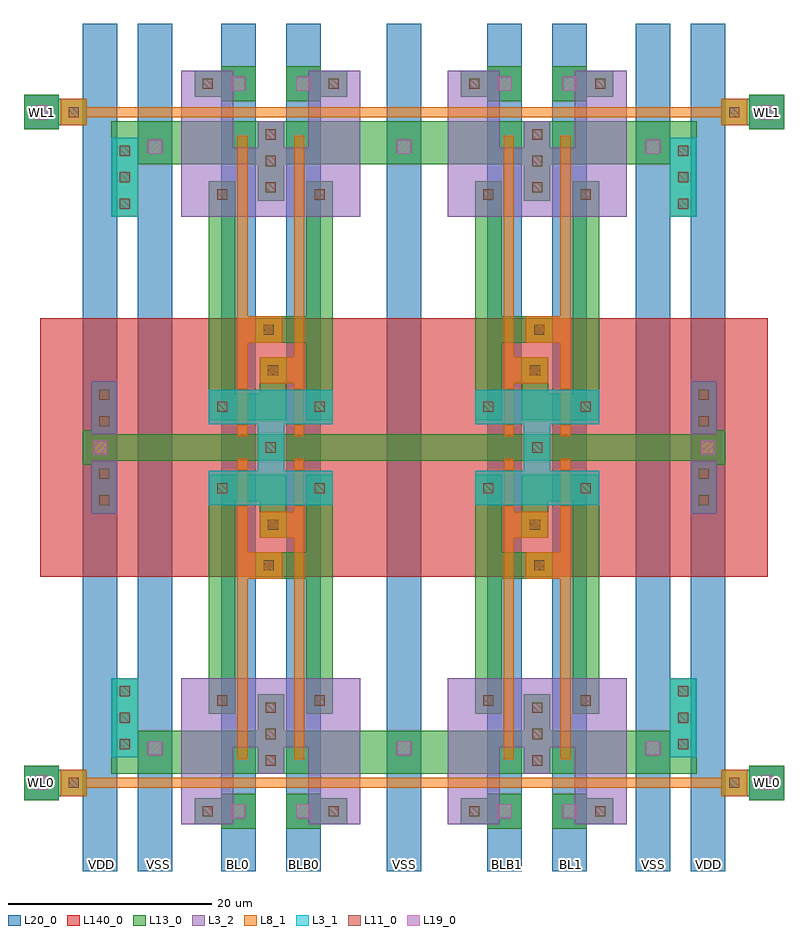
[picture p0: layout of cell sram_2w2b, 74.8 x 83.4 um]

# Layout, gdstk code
from math import pi, radians
import gdstk
lib = gdstk.Library(unit=1e-6, precision=1e-07)
def R(c, l, rs):  # rectangles x0, y0, x1, y1
    for r in rs: c.add(gdstk.rectangle(r[:2], r[2:], *l))
def A(c, l, x, y, w, h, nx, ny, dx, dy):  # array of equal rectangles
    R(c, l, [(x+i*dx, y+j*dy, x+i*dx+w, y+j*dy+h) for i in range(nx) for j in range(ny)])
L3_1 = (3, 1)
L3_2 = (3, 2)
L8_1 = (8, 1)
L11_0 = (11, 0)
L13_0 = (13, 0)
L19_0 = (19, 0)
L20_0 = (20, 0)
L140_0 = (140, 0)

cont_p = lib.new_cell('cont_p')
R(cont_p, L3_1, [(-1.3,-1.3,1.3,1.3)])
R(cont_p, L11_0, [(-0.5,-0.5,0.5,0.5)])
R(cont_p, L13_0, [(-1.3,-1.3,1.3,1.3)])

cont_n = lib.new_cell('cont_n')
R(cont_n, L3_2, [(-1.3,-1.3,1.3,1.3)])
R(cont_n, L11_0, [(-0.5,-0.5,0.5,0.5)])
R(cont_n, L13_0, [(-1.3,-1.3,1.3,1.3)])

cont_g = lib.new_cell('cont_g')
R(cont_g, L8_1, [(-1.3,-1.3,1.3,1.3)])
R(cont_g, L11_0, [(-0.5,-0.5,0.5,0.5)])
R(cont_g, L13_0, [(-1.3,-1.3,1.3,1.3)])

via_1 = lib.new_cell('via_1')
R(via_1, L13_0, [(-1.7,-1.7,1.7,1.7)])
R(via_1, L19_0, [(-0.7,-0.7,0.7,0.7)])
R(via_1, L20_0, [(-1.7,-1.7,1.7,1.7)])

sram6t_tr10 = lib.new_cell('sram6t_tr10')
R(sram6t_tr10, L3_1, [(-405.9,10196.3,-393.7,10199.7), (-401.1,10199.7,-398.5,10200.7)])
R(sram6t_tr10, L3_2, [(-408.6,10164.9,-403.5,10172.5), (-396.1,10164.9,-391,10172.5), (-408.6,10172.5,-391,10179.3)])
R(sram6t_tr10, L8_1, [(-412.9,10168.5,-386.7,10169.5), (-403.1,10171.3,-402.1,10200.9), (-397.5,10171.3,-396.5,10200.9), (-402.1,10189.1,-401.3,10191.7), (-398.3,10193.1,-397.5,10195.7)])
R(sram6t_tr10, L13_0, [(-412.9,10169.9,-386.7,10174.1), (-401.1,10172.5,-398.5,10177.7), (-405.9,10175.8,-403.3,10196.7), (-396.3,10175.8,-393.7,10196.7), (-398.7,10189.1,-396.3,10191.7), (-400.9,10195.6,-398.3,10196.7), (-403.3,10196.7,-398.3,10199.3), (-412.9,10200.7,-386.7,10203.3)])
R(sram6t_tr10, L20_0, [(-412.9,10164.5,-409.5,10202), (-388.4,10164.5,-385,10202), (-404.7,10167.9,-401.3,10202), (-398.3,10167.9,-394.9,10202)])
R(sram6t_tr10, L140_0, [(-412.9,10189.3,-386.7,10210.3)])
r = gdstk.Reference(cont_p, (-399.8,10202)); r.repetition = gdstk.Repetition(1, 1, v1=(0,0), v2=(0,0)); sram6t_tr10.add(r)
r = gdstk.Reference(cont_p, (-395,10198)); r.repetition = gdstk.Repetition(1, 1, v1=(0,0), v2=(0,0)); sram6t_tr10.add(r)
r = gdstk.Reference(cont_p, (-404.6,10198)); r.repetition = gdstk.Repetition(1, 1, v1=(0,0), v2=(0,0)); sram6t_tr10.add(r)
r = gdstk.Reference(cont_n, (-395,10177.1)); r.repetition = gdstk.Repetition(1, 1, v1=(0,0), v2=(0,0)); sram6t_tr10.add(r)
r = gdstk.Reference(cont_n, (-399.8,10171.2)); r.repetition = gdstk.Repetition(1, 1, v1=(0,0), v2=(0,0)); sram6t_tr10.add(r)
r = gdstk.Reference(cont_n, (-404.6,10177.1)); r.repetition = gdstk.Repetition(1, 1, v1=(0,0), v2=(0,0)); sram6t_tr10.add(r)
r = gdstk.Reference(cont_g, (-399.6,10194.4)); r.repetition = gdstk.Repetition(1, 1, v1=(0,0), v2=(0,0)); sram6t_tr10.add(r)
r = gdstk.Reference(cont_g, (-400,10190.4)); r.repetition = gdstk.Repetition(1, 1, v1=(0,0), v2=(0,0)); sram6t_tr10.add(r)
r = gdstk.Reference(cont_n, (-406,10166.2)); r.repetition = gdstk.Repetition(1, 1, v1=(0,0), v2=(0,0)); sram6t_tr10.add(r)
r = gdstk.Reference(cont_n, (-393.6,10166.2)); r.repetition = gdstk.Repetition(1, 1, v1=(0,0), v2=(0,0)); sram6t_tr10.add(r)
r = gdstk.Reference(via_1, (-386.7,10172.4)); r.repetition = gdstk.Repetition(1, 1, v1=(0,0), v2=(0,0)); sram6t_tr10.add(r)
r = gdstk.Reference(via_1, (-396.6,10166.2)); r.repetition = gdstk.Repetition(1, 1, v1=(0,0), v2=(0,0)); sram6t_tr10.add(r)
r = gdstk.Reference(via_1, (-403,10166.2)); r.repetition = gdstk.Repetition(1, 1, v1=(0,0), v2=(0,0)); sram6t_tr10.add(r)
r = gdstk.Reference(cont_n, (-399.8,10173.8)); r.repetition = gdstk.Repetition(1, 1, v1=(0,0), v2=(0,0)); sram6t_tr10.add(r)
r = gdstk.Reference(cont_n, (-399.8,10176.4)); r.repetition = gdstk.Repetition(1, 1, v1=(0,0), v2=(0,0)); sram6t_tr10.add(r)
r = gdstk.Reference(via_1, (-411.2,10172.4)); r.repetition = gdstk.Repetition(1, 1, v1=(0,0), v2=(0,0)); sram6t_tr10.add(r)
sram6t_tr10.add(gdstk.Label('WL', (-400.9,10168.9), layer=48, texttype=0))
sram6t_tr10.add(gdstk.Label('Q', (-405,10184.4), layer=48, texttype=0))
sram6t_tr10.add(gdstk.Label('QB', (-395.1,10182.8), layer=48, texttype=0))
sram6t_tr10.add(gdstk.Label('VSS', (-411.7,10171), layer=48, texttype=0))
sram6t_tr10.add(gdstk.Label('BL', (-405.9,10166.3), layer=48, texttype=0))
sram6t_tr10.add(gdstk.Label('BLB', (-393.4,10166.1), layer=48, texttype=0))
sram6t_tr10.add(gdstk.Label('VDD', (-411.2,10201.8), layer=48, texttype=0))

sram_2w2b = lib.new_cell('sram_2w2b')
R(sram_2w2b, L8_1, [(-419.7,10168.5,-412.9,10169.5), (-419.7,10168.5,-412.9,10169.5), (-360.5,10168.5,-353.7,10169.5), (-419.7,10234.5,-412.9,10235.5), (-360.5,10234.5,-353.7,10235.5)])
R(sram_2w2b, L13_0, [(-420.7,10167.7,-420.5,10170.3), (-420.7,10167.7,-420.5,10170.3), (-352.9,10167.7,-352.7,10170.3), (-352.9,10167.7,-352.7,10170.3), (-352.9,10167.7,-352.7,10170.3), (-352.9,10167.7,-352.7,10170.3), (-415.5,10169.9,-412.9,10171.5), (-360.5,10169.9,-357.9,10171.5), (-417.5,10200.7,-412.9,10203.3), (-360.5,10200.7,-355.9,10203.3), (-415.5,10232.5,-412.9,10234.1), (-360.5,10232.5,-357.9,10234.1), (-420.7,10233.7,-420.5,10236.3), (-352.9,10233.7,-352.7,10236.3), (-352.9,10233.7,-352.7,10236.3), (-352.9,10233.7,-352.7,10236.3), (-352.9,10233.7,-352.7,10236.3)])
A(sram_2w2b, L20_0, -398.3, 10160.3, 3.4, 4.2, 3, 2, 9.9, 79.2)
R(sram_2w2b, L20_0, [(-418.3,10160.3,-414.9,10164.5), (-412.9,10160.3,-409.5,10164.5), (-404.7,10160.3,-401.3,10164.5), (-404.7,10160.3,-401.3,10164.5), (-398.3,10160.3,-394.9,10164.5), (-378.5,10160.3,-375.1,10164.5), (-372.1,10160.3,-368.7,10164.5), (-372.1,10160.3,-368.7,10164.5), (-363.9,10160.3,-360.5,10164.5), (-358.5,10160.3,-355.1,10164.5), (-418.3,10164.5,-414.9,10200.3), (-358.5,10164.5,-355.1,10200.3), (-418.3,10203.7,-414.9,10239.5), (-358.5,10203.7,-355.1,10239.5), (-418.3,10239.5,-414.9,10243.7), (-412.9,10239.5,-409.5,10243.7), (-404.7,10239.5,-401.3,10243.7), (-404.7,10239.5,-401.3,10243.7), (-398.3,10239.5,-394.9,10243.7), (-378.5,10239.5,-375.1,10243.7), (-372.1,10239.5,-368.7,10243.7), (-372.1,10239.5,-368.7,10243.7), (-363.9,10239.5,-360.5,10243.7), (-358.5,10239.5,-355.1,10243.7)])
R(sram_2w2b, L140_0, [(-422.5,10189.3,-412.9,10214.7), (-360.5,10189.3,-350.9,10214.7)])
sram_2w2b.add(gdstk.Reference(sram6t_tr10, (0,0)))
sram_2w2b.add(gdstk.Reference(sram6t_tr10, (-773.4,0), rotation=pi, x_reflection=True))
sram_2w2b.add(gdstk.Reference(sram6t_tr10, (-773.4,20404), rotation=pi))
sram_2w2b.add(gdstk.Reference(sram6t_tr10, (0,20404), x_reflection=True))
sram_2w2b.add(gdstk.Reference(cont_n, (-416.2,10204.6), x_reflection=True))
sram_2w2b.add(gdstk.Reference(cont_n, (-416.2,10199.4), x_reflection=True))
sram_2w2b.add(gdstk.Reference(via_1, (-416.6,10202), x_reflection=True))
sram_2w2b.add(gdstk.Reference(cont_n, (-416.2,10207.2), x_reflection=True))
sram_2w2b.add(gdstk.Reference(cont_n, (-416.2,10196.8), x_reflection=True))
sram_2w2b.add(gdstk.Reference(cont_p, (-414.2,10172.8), x_reflection=True))
sram_2w2b.add(gdstk.Reference(cont_p, (-414.2,10175.4), x_reflection=True))
sram_2w2b.add(gdstk.Reference(cont_p, (-414.2,10178), x_reflection=True))
sram_2w2b.add(gdstk.Reference(cont_p, (-414.2,10226), x_reflection=True))
sram_2w2b.add(gdstk.Reference(cont_p, (-414.2,10228.6), x_reflection=True))
sram_2w2b.add(gdstk.Reference(cont_p, (-414.2,10231.2), x_reflection=True))
sram_2w2b.add(gdstk.Reference(cont_n, (-357.2,10204.6), x_reflection=True))
sram_2w2b.add(gdstk.Reference(cont_n, (-357.2,10199.4), x_reflection=True))
sram_2w2b.add(gdstk.Reference(via_1, (-356.8,10202), x_reflection=True))
sram_2w2b.add(gdstk.Reference(cont_n, (-357.2,10207.2), x_reflection=True))
sram_2w2b.add(gdstk.Reference(cont_n, (-357.2,10196.8), x_reflection=True))
sram_2w2b.add(gdstk.Reference(cont_p, (-359.2,10172.8), x_reflection=True))
sram_2w2b.add(gdstk.Reference(cont_p, (-359.2,10175.4), x_reflection=True))
sram_2w2b.add(gdstk.Reference(cont_p, (-359.2,10178), x_reflection=True))
sram_2w2b.add(gdstk.Reference(cont_p, (-359.2,10226), x_reflection=True))
sram_2w2b.add(gdstk.Reference(cont_p, (-359.2,10228.6), x_reflection=True))
sram_2w2b.add(gdstk.Reference(cont_p, (-359.2,10231.2), x_reflection=True))
sram_2w2b.add(gdstk.Reference(via_1, (-422.4,10169), x_reflection=True))
sram_2w2b.add(gdstk.Reference(via_1, (-422.4,10235), x_reflection=True))
sram_2w2b.add(gdstk.Reference(cont_g, (-419.2,10235), x_reflection=True))
sram_2w2b.add(gdstk.Reference(cont_g, (-419.2,10169), x_reflection=True))
sram_2w2b.add(gdstk.Reference(cont_g, (-419.2,10169), x_reflection=True))
sram_2w2b.add(gdstk.Reference(cont_g, (-354.2,10169), x_reflection=True))
sram_2w2b.add(gdstk.Reference(cont_g, (-354.2,10235), x_reflection=True))
sram_2w2b.add(gdstk.Reference(via_1, (-351,10169), x_reflection=True))
sram_2w2b.add(gdstk.Reference(via_1, (-351,10169), x_reflection=True))
sram_2w2b.add(gdstk.Reference(via_1, (-351,10235), x_reflection=True))
sram_2w2b.add(gdstk.Reference(via_1, (-351,10235), x_reflection=True))
sram_2w2b.add(gdstk.Label('WL0', (-422.4,10169), layer=49, texttype=0))
sram_2w2b.add(gdstk.Label('VDD', (-416.5,10161), layer=49, texttype=0))
sram_2w2b.add(gdstk.Label('VSS', (-410.9,10161), layer=49, texttype=0))
sram_2w2b.add(gdstk.Label('BL0', (-403,10161), layer=49, texttype=0))
sram_2w2b.add(gdstk.Label('BLB0', (-396.5,10161), layer=49, texttype=0))
sram_2w2b.add(gdstk.Label('VSS', (-386.7,10161), layer=49, texttype=0))
sram_2w2b.add(gdstk.Label('BLB1', (-376.5,10161), layer=49, texttype=0))
sram_2w2b.add(gdstk.Label('BL1', (-370.2,10161), layer=49, texttype=0))
sram_2w2b.add(gdstk.Label('VSS', (-362.1,10161), layer=49, texttype=0))
sram_2w2b.add(gdstk.Label('VDD', (-356.7,10161), layer=49, texttype=0))
sram_2w2b.add(gdstk.Label('WL0', (-350.9,10169), layer=49, texttype=0))
sram_2w2b.add(gdstk.Label('WL1', (-422.3,10235), layer=49, texttype=0))
sram_2w2b.add(gdstk.Label('WL1', (-350.9,10235), layer=49, texttype=0))

lib.write_gds('sram_2w2b.gds')
